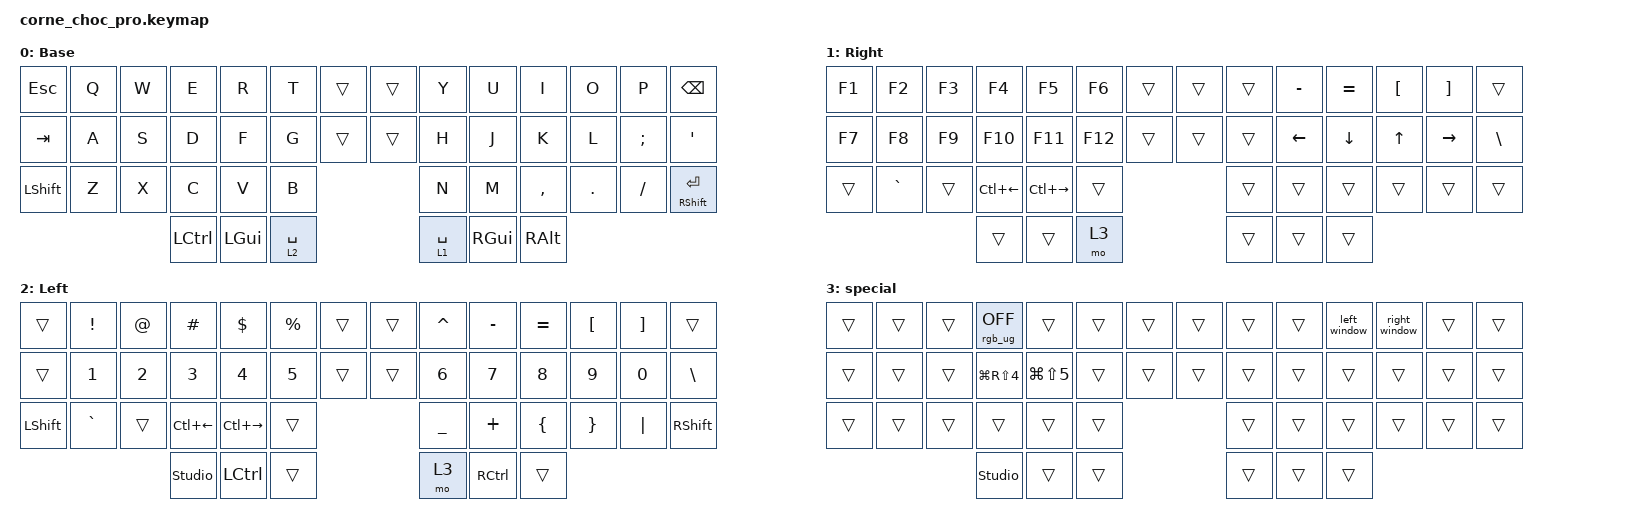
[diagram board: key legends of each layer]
/*
 * Copyright (c) 2020 The ZMK Contributors
 *
 * SPDX-License-Identifier: MIT
 */

#define ZMK_POINTING_DEFAULT_MOVE_VAL 1200  // 600
#define ZMK_POINTING_DEFAULT_SCRL_VAL 25   // 10

#include <input/processors.dtsi>
#include <zephyr/dt-bindings/input/input-event-codes.h>
#include <behaviors.dtsi>
#include <dt-bindings/zmk/keys.h>
#include <dt-bindings/zmk/rgb.h>

&mmv_input_listener { input-processors = <&zip_xy_scaler 2 1>; };

&msc_input_listener { input-processors = <&zip_scroll_scaler 2 1>; };

&msc {
  acceleration-exponent = <1>;      // 0
  time-to-max-speed-ms = <100>;       // 300
  delay-ms = <0>;                   // 0
};

&mmv {
  time-to-max-speed-ms = <500>;
  acceleration-exponent = <1>;
  trigger-period-ms = <16>;
};

// dt-formatter: indent = "  "
// dt-formatter: reindentMultilineIntegerCells = "dedent"

/ {
  behaviors {
    hm: homerow_mods {
      compatible = "zmk,behavior-hold-tap";
      label = "HOMEROW_MODS";
      #binding-cells = <2>;
      tapping-term-ms = <200>;
      quick-tap-ms = <125>;
      flavor = "tap-preferred";
      bindings = <&kp>, <&kp>;
    };

    mo_to: mo_to {
      compatible = "zmk,behavior-hold-tap";
      label = "MO_TO";
      #binding-cells = <2>;
      tapping-term-ms = <200>;
      quick-tap-ms = <125>;
      flavor = "tap-preferred";
      bindings = <&mo>, <&to>;
    };

    Shift_Caps: Shift_Caps {
      compatible = "zmk,behavior-tap-dance";
      label = "SHIFT_CAPS";
      #binding-cells = <0>;
      bindings = <&kp LEFT_SHIFT>, <&kp CLCK>;
    };
  };

  combos {
    compatible = "zmk,combos";

    delete {
      bindings = <&kp DEL>;
      key-positions = <10 11>;
    };

    down {
      bindings = <&kp PAGE_UP>;
      key-positions = <24 25>;
    };

    page_down {
      bindings = <&kp PAGE_DOWN>;
      key-positions = <23 24>;
    };
  };

  macros {
    left_window: left_window {
      compatible = "zmk,behavior-macro";
      #binding-cells = <0>;
      bindings = <&kp LA(LG(LEFT_ARROW))>;
      label = "LEFT_WINDOW";
    };

    right_window: right_window {
      compatible = "zmk,behavior-macro";
      #binding-cells = <0>;
      bindings = <&kp LA(LG(RIGHT))>;
      label = "RIGHT_WINDOW";
    };

    full_window: full_window {
      compatible = "zmk,behavior-macro";
      #binding-cells = <0>;
      bindings = <&kp LG(LC(UP_ARROW))>;
      label = "FULL_WINDOW";
    };
  };

  keymap {
    compatible = "zmk,keymap";

    base {
      display-name = "Base";
      bindings = <
&kp ESC         &kp Q  &kp W  &kp E      &kp R         &kp T        &trans  &trans  &kp Y        &kp U          &kp I          &kp O    &kp P          &kp BACKSPACE
&kp TAB         &kp A  &kp S  &kp D      &kp F         &kp G        &trans  &trans  &kp H        &kp J          &kp K          &kp L    &kp SEMICOLON  &kp APOS
&kp LEFT_SHIFT  &kp Z  &kp X  &kp C      &kp V         &kp B                        &kp N        &kp M          &kp COMMA      &kp DOT  &kp FSLH       &hm RIGHT_SHIFT RET
                              &kp LCTRL  &kp LEFT_GUI  &lt 2 SPACE                  &lt 1 SPACE  &kp RIGHT_GUI  &kp RIGHT_ALT
      >;
    };

    right {
      display-name = "Right";
      bindings = <
&kp F1  &kp F2     &kp F3  &kp F4        &kp F5         &kp F6   &trans  &trans  &trans  &kp MINUS  &kp EQUAL  &kp LEFT_BRACKET  &kp RIGHT_BRACKET  &trans
&kp F7  &kp F8     &kp F9  &kp F10       &kp F11        &kp F12  &trans  &trans  &trans  &kp LEFT   &kp DOWN   &kp UP            &kp RIGHT          &kp BSLH
&trans  &kp GRAVE  &trans  &kp LC(LEFT)  &kp LC(RIGHT)  &trans                   &trans  &trans     &trans     &trans            &trans             &trans
                           &trans        &trans         &mo 3                    &trans  &trans     &trans
      >;
    };

    left {
      display-name = "Left";
      bindings = <
&trans          &kp EXCL   &kp AT  &kp HASH        &kp DLLR       &kp PRCNT  &trans  &trans  &kp CARET  &kp MINUS  &kp EQUAL  &kp LEFT_BRACKET  &kp RIGHT_BRACKET  &trans
&trans          &kp N1     &kp N2  &kp N3          &kp N4         &kp N5     &trans  &trans  &kp N6     &kp N7     &kp N8     &kp N9            &kp N0             &kp BACKSLASH
&kp LEFT_SHIFT  &kp GRAVE  &trans  &kp LC(LEFT)    &kp LC(RIGHT)  &trans                     &kp UNDER  &kp PLUS   &kp LBRC   &kp RBRC          &kp PIPE           &kp RIGHT_SHIFT
                                   &studio_unlock  &kp LCTRL      &trans                     &mo 3      &kp RCTRL  &trans
      >;
    };

    special {
      bindings = <
&trans  &trans  &trans  &rgb_ug RGB_OFF       &trans          &trans  &trans  &trans  &trans  &trans  &left_window  &right_window  &trans  &trans
&trans  &trans  &trans  &kp LG(RS(NUMBER_4))  &kp LG(LS(N5))  &trans  &trans  &trans  &trans  &trans  &trans        &trans         &trans  &trans
&trans  &trans  &trans  &trans                &trans          &trans                  &trans  &trans  &trans        &trans         &trans  &trans
                        &studio_unlock        &trans          &trans                  &trans  &trans  &trans
      >;
    };
  };
};
